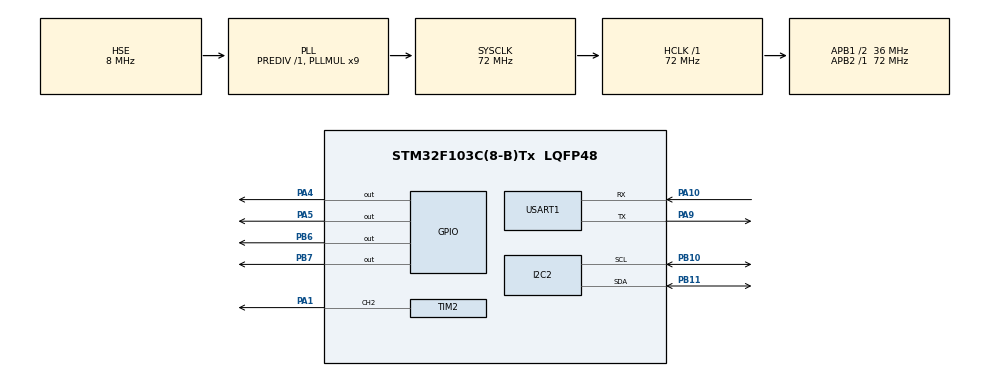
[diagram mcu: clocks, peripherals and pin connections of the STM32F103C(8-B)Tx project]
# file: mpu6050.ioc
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Mcu.Family=STM32F1
Mcu.Name=STM32F103C(8-B)Tx
Mcu.Package=LQFP48
NVIC.PriorityGroup=NVIC_PRIORITYGROUP_4
PA1.Signal=S_TIM2_CH2
PA10.Mode=Asynchronous
PA10.Signal=USART1_RX
PA13.Mode=Serial_Wire
PA13.Signal=SYS_JTMS-SWDIO
PA14.Mode=Serial_Wire
PA14.Signal=SYS_JTCK-SWCLK
PA4.Signal=GPIO_Output
PA5.Signal=GPIO_Output
PA9.Mode=Asynchronous
PA9.Signal=USART1_TX
PB10.Mode=I2C
PB10.Signal=I2C2_SCL
PB11.Mode=I2C
PB11.Signal=I2C2_SDA
PB6.GPIO_ModeDefaultOutputPP=GPIO_MODE_OUTPUT_OD
PB6.GPIO_PuPd=GPIO_PULLUP
PB6.Signal=GPIO_Output
PB7.GPIO_ModeDefaultOutputPP=GPIO_MODE_OUTPUT_OD
PB7.GPIO_PuPd=GPIO_PULLUP
PB7.Signal=GPIO_Output
PD0-OSC_IN.Mode=HSE-External-Oscillator
PD0-OSC_IN.Signal=RCC_OSC_IN
PD1-OSC_OUT.Mode=HSE-External-Oscillator
PD1-OSC_OUT.Signal=RCC_OSC_OUT
ProjectManager.HeapSize=0x200
ProjectManager.StackSize=0x400
ProjectManager.TargetToolchain=MDK-ARM V5.32
RCC.AHBFreq_Value=72000000
RCC.APB1CLKDivider=RCC_HCLK_DIV2
RCC.APB1Freq_Value=36000000
RCC.APB1TimFreq_Value=72000000
RCC.APB2Freq_Value=72000000
RCC.APB2TimFreq_Value=72000000
RCC.HCLKFreq_Value=72000000
RCC.PLLMUL=RCC_PLL_MUL9
RCC.PLLSourceVirtual=RCC_PLLSOURCE_HSE
RCC.SYSCLKFreq_VALUE=72000000
RCC.SYSCLKSource=RCC_SYSCLKSOURCE_PLLCLK
RCC.USBFreq_Value=72000000
SH.S_TIM2_CH2.0=TIM2_CH2,PWM Generation2 CH2
TIM2.Channel-PWM\ Generation2\ CH2=TIM_CHANNEL_2
USART1.VirtualMode=VM_ASYNC
VP_TIM2_VS_ClockSourceINT.Mode=Internal
board=custom

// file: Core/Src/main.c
/* USER CODE BEGIN Header */
/**
  ******************************************************************************
  * @file           : main.c
  * @brief          : Main program body
  ******************************************************************************
  * @attention
  *
  * Copyright (c) 2026 STMicroelectronics.
  * All rights reserved.
  *
  * This software is licensed under terms that can be found in the LICENSE file
  * in the root directory of this software component.
  * If no LICENSE file comes with this software, it is provided AS-IS.
  *
  ******************************************************************************
  */
/* USER CODE END Header */
#include "main.h"
#include "i2c.h"
#include "tim.h"
#include "usart.h"
#include "gpio.h"

/* USER CODE BEGIN Includes */
#include <stdio.h>
#include "OLED.h"
#include "MPU6050.h"
#include "DC_Motor.h"
/* USER CODE END Includes */

/* USER CODE BEGIN PD */
#define OLED_REFRESH_DELAY_MS   50
/* USER CODE END PD */

void SystemClock_Config(void);

int main(void)
{

  /* MCU Configuration--------------------------------------------------------*/

  /* Reset of all peripherals, Initializes the Flash interface and the Systick. */
  HAL_Init();

  /* Configure the system clock */
  SystemClock_Config();

  /* Initialize all configured peripherals */
  MX_GPIO_Init();
  MX_USART1_UART_Init();
  MX_I2C2_Init();
  MX_TIM2_Init();
  /* USER CODE BEGIN 2 */
	OLED_Init();
	OLED_ShowString(1, 1, "OLED: OK");

	MPU6050_Init();
	OLED_ShowString(1, 1, "MPU6050: Ready");

	DC_Motor_Init();
	OLED_ShowString(2, 1, "Motor: OK");
	HAL_Delay(500);
  /* USER CODE END 2 */

  /* Infinite loop */
  while (1)
  {

    /* USER CODE BEGIN 3 */
		MPU6050_ReadAll();

		char buf[17];
		float pitch = MPU6050_GetPitch();
		DC_Motor_ControlByPitch(pitch);

		sprintf(buf, "AX% 5.2f AY% 5.2f", MPU6050_GetAccelX(), MPU6050_GetAccelY());
		buf[16] = '\0';
		OLED_ShowString(1, 1, buf);

		sprintf(buf, "AZ% 5.2f GX% 6.2f", MPU6050_GetAccelZ(), MPU6050_GetGyroX());
		buf[16] = '\0';
		OLED_ShowString(2, 1, buf);

		sprintf(buf, "GY% 6.2f GZ% 6.2f", MPU6050_GetGyroY(), MPU6050_GetGyroZ());
		buf[16] = '\0';
		OLED_ShowString(3, 1, buf);

		sprintf(buf, "Temp:%.1f C", MPU6050_GetTemperature());
		buf[16] = '\0';
		OLED_ShowString(4, 1, buf);

		sprintf(buf, "Pitch:% 6.1f", pitch);
		buf[16] = '\0';
		OLED_ShowString(4, 1, buf);

		HAL_Delay(OLED_REFRESH_DELAY_MS);
  }
  /* USER CODE END 3 */
}

void SystemClock_Config(void)
{
  RCC_OscInitTypeDef RCC_OscInitStruct = {0};
  RCC_ClkInitTypeDef RCC_ClkInitStruct = {0};

  /** Initializes the RCC Oscillators according to the specified parameters
  * in the RCC_OscInitTypeDef structure.
  */
  RCC_OscInitStruct.OscillatorType = RCC_OSCILLATORTYPE_HSE;
  RCC_OscInitStruct.HSEState = RCC_HSE_ON;
  RCC_OscInitStruct.HSEPredivValue = RCC_HSE_PREDIV_DIV1;
  RCC_OscInitStruct.HSIState = RCC_HSI_ON;
  RCC_OscInitStruct.PLL.PLLState = RCC_PLL_ON;
  RCC_OscInitStruct.PLL.PLLSource = RCC_PLLSOURCE_HSE;
  RCC_OscInitStruct.PLL.PLLMUL = RCC_PLL_MUL9;
  if (HAL_RCC_OscConfig(&RCC_OscInitStruct) != HAL_OK)
  {
    Error_Handler();
  }

  /** Initializes the CPU, AHB and APB buses clocks
  */
  RCC_ClkInitStruct.ClockType = RCC_CLOCKTYPE_HCLK|RCC_CLOCKTYPE_SYSCLK
                              |RCC_CLOCKTYPE_PCLK1|RCC_CLOCKTYPE_PCLK2;
  RCC_ClkInitStruct.SYSCLKSource = RCC_SYSCLKSOURCE_PLLCLK;
  RCC_ClkInitStruct.AHBCLKDivider = RCC_SYSCLK_DIV1;
  RCC_ClkInitStruct.APB1CLKDivider = RCC_HCLK_DIV2;
  RCC_ClkInitStruct.APB2CLKDivider = RCC_HCLK_DIV1;

  if (HAL_RCC_ClockConfig(&RCC_ClkInitStruct, FLASH_LATENCY_2) != HAL_OK)
  {
    Error_Handler();
  }
}

/* USER CODE BEGIN 4 */
#pragma import(__use_no_semihosting)

/**
  * @brief   重定向 printf 到 USART1
  * @param   ch  要发送的字符
  * @param   f   文件指针（未使用）
  * @retval  输出的字符
  */
int fputc(int ch, FILE *f)
{
  HAL_UART_Transmit(&huart1, (uint8_t *)&ch, 1, HAL_MAX_DELAY);
  return ch;
}
/* USER CODE END 4 */

void Error_Handler(void)
{
  __disable_irq();
  while (1)
  {
  }
}
